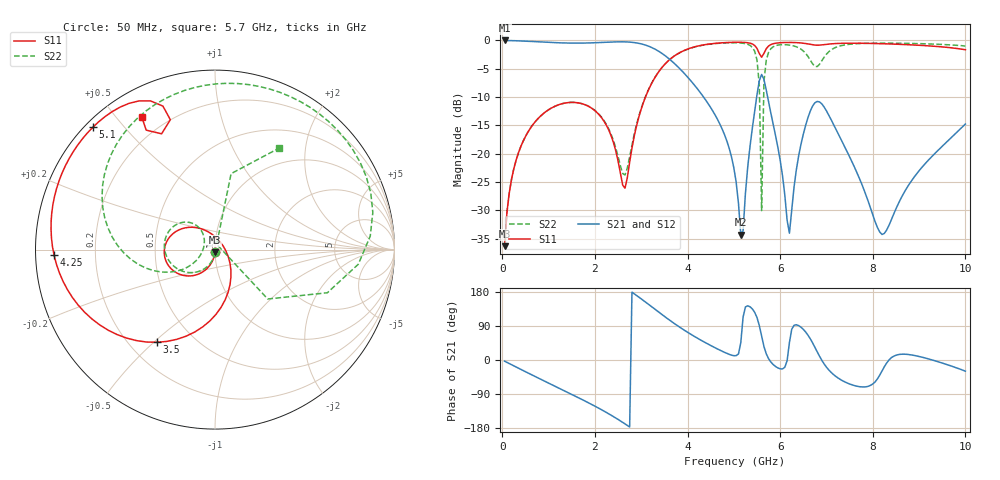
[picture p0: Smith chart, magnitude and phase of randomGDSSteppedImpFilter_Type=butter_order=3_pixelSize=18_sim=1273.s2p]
! freq	dB(S11)	phase(S11)	dB(S12)	phase(S12)
!  dB(S21)	phase(S21)	dB(S22)	phase(S22)
!S-par simulation data
#  GHz  S  DB  R 50
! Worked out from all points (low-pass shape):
!   200 points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, 50 MHz to 10 GHz, reference 50 ohm
!   highest |S21| = -0.01 dB at 50 MHz (marker M1); lowest = -34.3 dB at 5.15 GHz (marker M2)
!   |S21| within 3 dB of the highest: start of sweep to 3.565 GHz
!   lowest |S11| = -36.3 dB at 50 MHz (marker M3), VSWR 1.03, Z = 49.9 - j1.52 ohm
!   |S11| at or under -10 dB: start of sweep to 3.092 GHz
!   |S22| runs from -36.4 to -0.4 dB; largest |S21 - S12| = 0
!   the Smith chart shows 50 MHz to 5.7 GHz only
!   S11 on the Smith chart (normalised r, x): 50 MHz: 1.00, -0.03; 3.5 GHz: 0.31, -0.51; 4.25 GHz: 0.05, -0.02; 5.1 GHz: 0.02, +0.41; 5.7 GHz: 0.11, +0.58
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0.05  -36.35 -92.6  -0.01 -3.2  -0.01 -3.2  -36.35 -93.1
0.5  -16.98 -118.8  -0.13 -30.9  -0.13 -30.9  -16.98 -124.0
1.75  -11.26 171.1  -0.47 -106.0  -0.47 -106.0  -11.24 156.3
2.65  -26.11 24.8  -0.26 -168.6  -0.26 -168.6  -23.78 173.6
3.4  -5.29 -113.2  -2.03 124.3  -2.03 124.3  -5.29 177.5
3.5  -4.30 -122.1  -2.60 115.2  -2.60 115.2  -4.30 168.4
4.25  -0.94 -177.9  -8.94 55.0  -8.94 55.0  -0.97 104.7
5.05  -0.33 137.6  -25.05 11.6  -25.05 11.6  -0.42 44.4
5.1  -0.32 134.9  -28.79 16.0  -28.79 16.0  -0.43 40.1
5.15  -0.33 132.2  -34.32 45.6  -34.32 45.6  -0.46 35.7
5.5  -1.41 109.9  -9.58 112.0  -9.58 112.0  -3.47 -21.0
5.55  -2.32 109.0  -7.11 90.9  -7.11 90.9  -7.90 -43.1
5.6  -2.97 114.8  -6.02 62.7  -6.02 62.7  -30.07 72.8
5.65  -2.29 119.9  -6.87 35.7  -6.87 35.7  -7.28 78.0
5.7  -1.46 118.9  -8.77 16.4  -8.77 16.4  -3.50 57.7
6.2  -0.36 90.3  -34.06 45.9  -34.06 45.9  -0.82 -17.9
6.55  -0.55 73.0  -15.01 73.9  -15.01 73.9  -2.29 -81.6
6.7  -0.76 66.5  -11.61 45.2  -11.61 45.2  -4.13 -141.5
7  -0.69 55.3  -12.45 -18.9  -12.45 -18.9  -2.43 74.6
7.4  -0.50 36.0  -18.90 -58.0  -18.90 -58.0  -0.79 11.2
8.35  -0.62 -11.8  -32.67 0.1  -32.67 0.1  -0.48 -42.7
10  -1.65 -103.2  -14.77 -29.5  -14.77 -29.5  -0.99 -97.8
